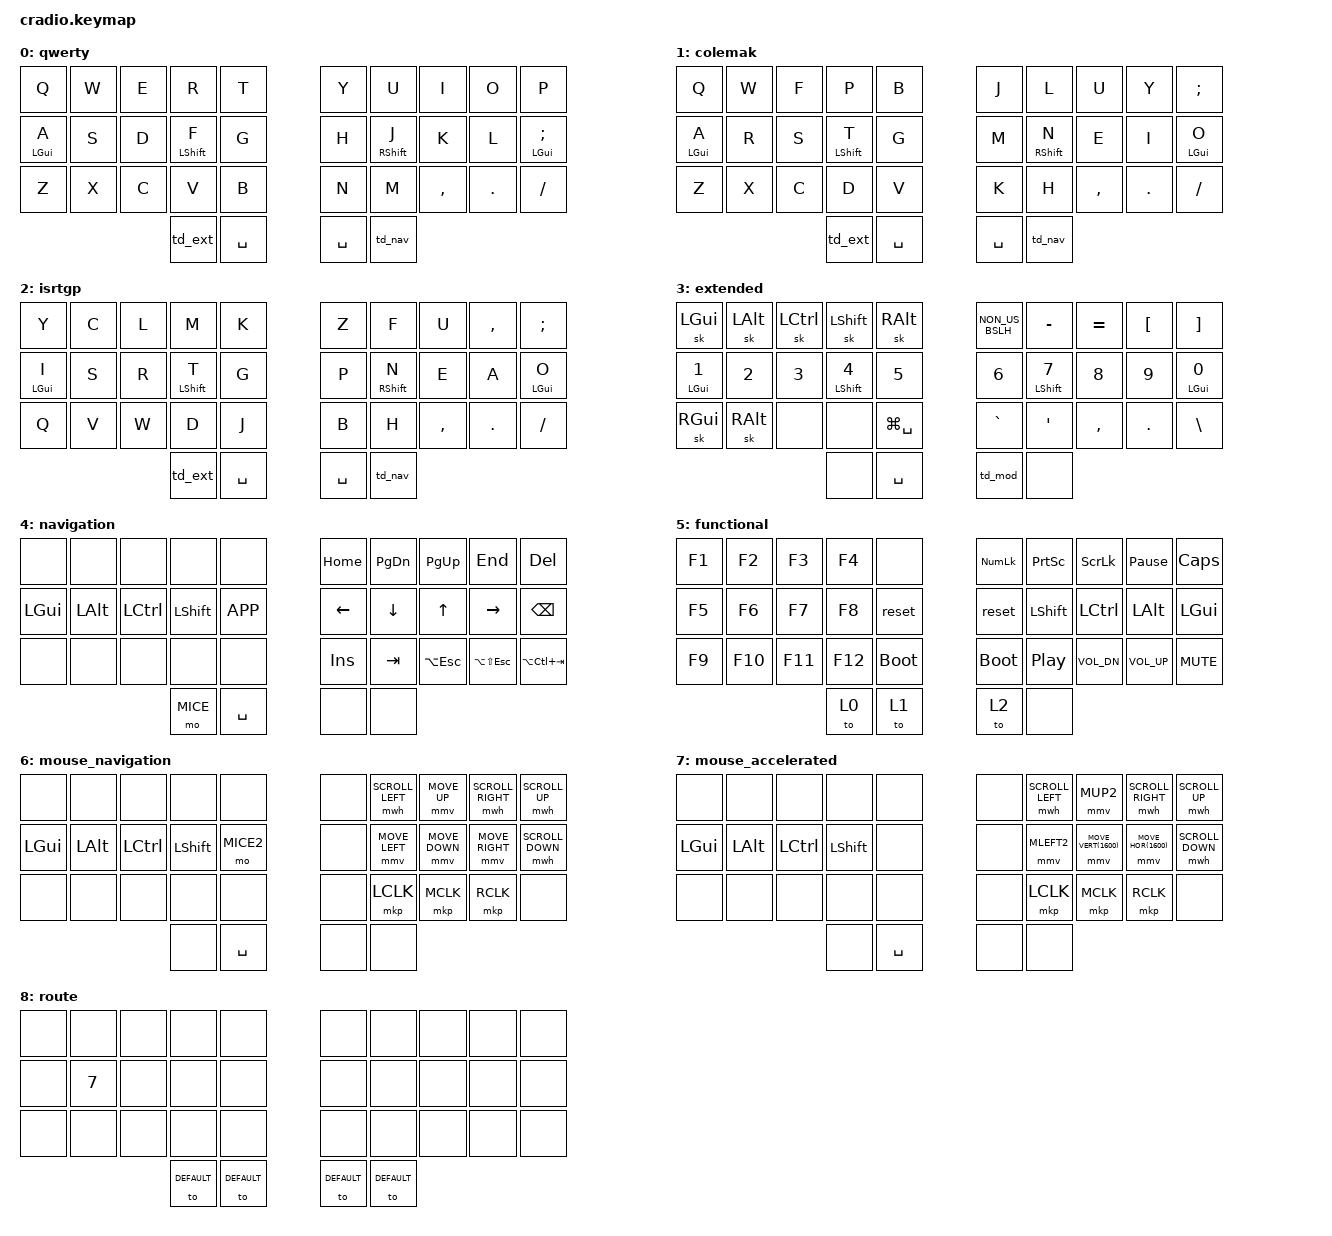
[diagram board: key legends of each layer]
/*
* Copyright (c) 2020 The ZMK Contributors
*
* SPDX-License-Identifier: MIT
*/

#include <behaviors.dtsi>
#include <dt-bindings/zmk/keys.h>
#include <dt-bindings/zmk/mouse.h>

// Layers
#define DEFAULT 1
#define SECOND  0
#define THIRD   2
#define EXT     3
#define NAV     4
#define FUN     5
#define MICE    6
#define MICE2   7
#define ROUTE   8

// Bindings
#define MUP MOVE_UP
#define MDOWN MOVE_DOWN
#define MLEFT MOVE_LEFT
#define MRIGHT MOVE_RIGHT
#define SUP SCROLL_UP
#define SDOWN SCROLL_DOWN
#define SLEFT SCROLL_LEFT
#define SRIGHT SCROLL_RIGHT

#define MUP2 MOVE_VERT(-1600)
#define MDOWN2 MOVE_VERT(1600)
#define MLEFT2 MOVE_HOR(-1600)
#define MRIGHT2 MOVE_HOR(1600)

&sk {
    release-after-ms = <1500>;
    quick-release;
};

/ {
    combos {
        compatible = "zmk,combos";
        lock {
            bindings = <&kp LG(L)>;
            key-positions = <9 19 29>;
            layers = <0 1 2>;
            timeout-ms = <50>;
        };
        left_escape {
            bindings = <&kp ESC>;
            key-positions = <1 2>;
            timeout-ms = <20>;
            layers = <0 1 2>;
        };
        left_enter {
            bindings = <&kp ENTER>;
            key-positions = <11 12>;
            timeout-ms = <20>;
            layers = <0 1 2>;
        };
        right_escape {
            bindings = <&kp ESC>;
            key-positions = <7 8>;
            timeout-ms = <20>;
            layers = <0 1 2>;
        };
        right_enter {
            bindings = <&kp ENTER>;
            key-positions = <17 18>;
            timeout-ms = <20>;
            layers = <0 1 2>;
        };
    };

    macros {
        mk_shifted: mk_shifted {
            label = "mk_shifted";
            compatible = "zmk,behavior-macro";
            #binding-cells = <0>;
            wait-ms = <0>;
            bindings =
                <&macro_press>,
                <&mo EXT &kp LSHFT>,
                <&macro_pause_for_release>,
                <&macro_release>,
                <&mo EXT &kp LSHFT>;
        };
        mk_to: mk_to {
            label = "mk_to";
            compatible = "zmk,behavior-macro";
            #binding-cells = <0>;
            wait-ms = <0>;
            bindings =
                <&macro_tap &to ROUTE>,
                <&macro_pause_for_release>,
                <&macro_tap &to DEFAULT>;
        };
    };

    behaviors {
        td_nav: tap_dance_nav {
            compatible = "zmk,behavior-tap-dance";
            label = "TAP_DANCE_NAV";
            #binding-cells = <0>;
            tapping-term-ms = <300>;
            bindings =
                <&mo NAV>,
                <&mo FUN>;
        };
        td_ext: tap_dance_ext {
            compatible = "zmk,behavior-tap-dance";
            label = "TAP_DANCE_EXT";
            #binding-cells = <0>;
            tapping-term-ms = <300>;
            bindings =
                <&mo EXT>,
                <&sk F19>;
                //<&mk_to>;
        };
        td_mod: tap_dance_mod {
            compatible = "zmk,behavior-tap-dance";
            label = "TAP_DANCE_MOD";
            #binding-cells = <0>;
            tapping-term-ms = <300>;
            bindings =
                <&kp LSHFT>,
                <&kp LCTRL>;
        };
        lmt: left_hand_positional_hold_tap {
            compatible = "zmk,behavior-hold-tap";
            label = "LEFT_POSITIONAL_HOLD_TAP";
            #binding-cells = <2>;
            flavor = "balanced";
            tapping-term-ms = <500>;                         // <---[[produces tap if held longer than tapping-term-ms]]
            quick-tap-ms = <200>;
            bindings = <&kp>, <&kp>;
            hold-trigger-key-positions = <5 6 7 8 9 15 16 17 18 19 25 26 27 28 29 32 33 >;    // <---[[right-hand keys]]
        };
        rmt: right_hand_positional_hold_tap {
            compatible = "zmk,behavior-hold-tap";
            label = "RIGHT_POSITIONAL_HOLD_TAP";
            #binding-cells = <2>;
            flavor = "balanced";
            tapping-term-ms = <500>;                        // <---[[produces tap if held longer than tapping-term-ms]]
            quick-tap-ms = <200>;
            bindings = <&kp>, <&kp>;
            hold-trigger-key-positions = <0 1 2 3 4 10 11 12 13 14 20 21 22 23 24 30 31 >;    // <---[[left-hand keys]]
        };
    };

    keymap {
        compatible = "zmk,keymap";

        qwerty {
            bindings = <
  &kp Q         &kp W     &kp E      &kp R           &kp T              &kp Y            &kp U           &kp I        &kp O    &kp P
  &lmt LGUI A   &kp S     &kp D      &lmt LSHIFT F   &kp G              &kp H            &rmt RSHIFT J   &kp K        &kp L    &rmt LGUI SEMI
  &kp Z         &kp X     &kp C      &kp V           &kp B              &kp N            &kp M           &kp COMMA    &kp DOT  &kp FSLH
                                     &td_ext         &kp SPACE          &kp SPACE        &td_nav
            >;
        };

        colemak {
            bindings = <
  &kp Q         &kp W     &kp F      &kp P           &kp B              &kp J            &kp L           &kp U        &kp Y    &kp SEMI
  &lmt LGUI A   &kp R     &kp S      &lmt LSHIFT T   &kp G              &kp M            &rmt RSHIFT N   &kp E        &kp I    &rmt LGUI O
  &kp Z         &kp X     &kp C      &kp D           &kp V              &kp K            &kp H           &kp COMMA    &kp DOT  &kp FSLH
                                     &td_ext         &kp SPACE          &kp SPACE        &td_nav
            >;
        };

        isrtgp {
            bindings = <
  &kp Y         &kp C     &kp L      &kp M           &kp K              &kp Z            &kp F           &kp U        &kp COMMA &kp SEMI
  &lmt LGUI I   &kp S     &kp R      &lmt LSHIFT T   &kp G              &kp P            &rmt RSHIFT N   &kp E        &kp A    &rmt LGUI O
  &kp Q         &kp V     &kp W      &kp D           &kp J              &kp B            &kp H           &kp COMMA    &kp DOT  &kp FSLH
                                     &td_ext         &kp SPACE          &kp SPACE        &td_nav
            >;
        };
        
        extended {
            bindings = <
  &sk LGUI      &sk LALT  &sk LCTRL  &sk LSHFT       &sk RALT           &kp NON_US_BSLH  &kp MINUS       &kp EQUAL    &kp LBKT  &kp RBKT
  &lmt LGUI N1  &kp N2    &kp N3     &lmt LSHIFT N4  &kp N5             &kp N6           &rmt LSHIFT N7  &kp N8       &kp N9    &rmt LGUI N0
  &sk RGUI      &sk RALT  &none      &none           &kp LG(SPACE)      &kp GRAVE        &kp SQT         &kp COMMA    &kp DOT   &kp BSLH
                                     &none           &kp SPACE          &td_mod          &none
            >;
        };

        navigation {
            bindings = <
  &none         &none     &none      &none           &none              &kp HOME         &kp PG_DN       &kp PG_UP    &kp END          &kp DEL
  &kp LGUI      &kp LALT  &kp LCTRL  &kp LSHIFT      &kp K_APP          &kp LEFT         &kp DOWN        &kp UP       &kp RIGHT        &kp BSPC
  &none         &none     &none      &none           &none              &kp INS          &kp TAB         &kp LA(ESC)  &kp LA(LS(ESC))  &kp LA(LC(TAB))
                                     &mo MICE        &kp SPACE          &none            &none
            >;
        };

        functional {
            bindings = <
  &kp F1        &kp F2    &kp F3     &kp F4          &none              &kp KP_NUMLOCK   &kp PRINTSCREEN   &kp SCROLLLOCK  &kp PAUSE_BREAK  &kp CAPS
  &kp F5        &kp F6    &kp F7     &kp F8          &reset             &reset           &kp LSHFT         &kp LCTRL       &kp LALT         &kp LGUI
  &kp F9        &kp F10   &kp F11    &kp F12         &bootloader        &bootloader      &kp C_PLAY_PAUSE  &kp C_VOL_DN    &kp C_VOL_UP     &kp C_MUTE
                                     &to 0           &to 1              &to 2            &none
            >;
        };

        mouse_navigation {
            bindings = <
  &none         &none     &none      &none           &none              &none            &mwh SLEFT      &mmv MUP     &mwh SRIGHT &mwh SUP
  &kp LGUI      &kp LALT  &kp LCTRL  &kp LSHIFT      &mo MICE2          &none            &mmv MLEFT      &mmv MDOWN   &mmv MRIGHT &mwh SDOWN
  &none         &none     &none      &none           &none              &none            &mkp LCLK       &mkp MCLK    &mkp RCLK   &none
                                     &none           &kp SPACE          &none            &none
            >;
        };

        mouse_accelerated {
            bindings = <
  &none         &none     &none      &none           &none              &none            &mwh SLEFT      &mmv MUP2    &mwh SRIGHT  &mwh SUP
  &kp LGUI      &kp LALT  &kp LCTRL  &kp LSHIFT      &none              &none            &mmv MLEFT2     &mmv MDOWN2  &mmv MRIGHT2 &mwh SDOWN
  &none         &none     &none      &none           &none              &none            &mkp LCLK       &mkp MCLK    &mkp RCLK    &none
                                     &none           &kp SPACE          &none            &none
            >;
        };

        route {
            bindings = <
    &none         &none     &none      &none           &none            &none      &none         &none     &none      &none
    &none         &kp N7    &none      &none           &none            &none      &none         &none     &none      &none
    &none         &none     &none      &none           &none            &none      &none         &none     &none      &none
                                       &to DEFAULT     &to DEFAULT      &to DEFAULT  &to DEFAULT
            >;
        };

    };
};
